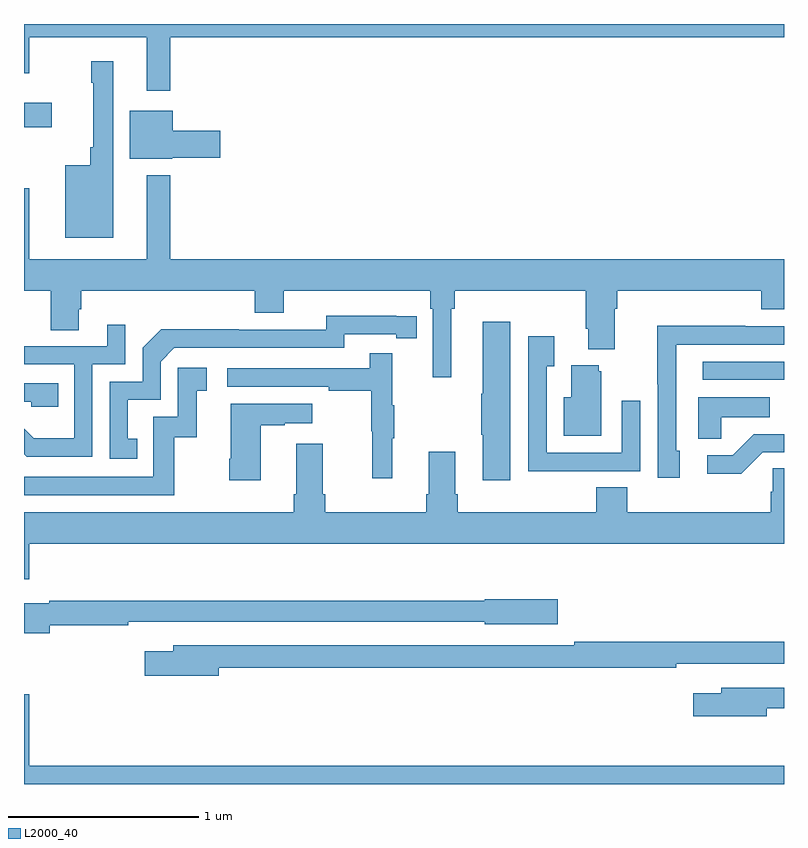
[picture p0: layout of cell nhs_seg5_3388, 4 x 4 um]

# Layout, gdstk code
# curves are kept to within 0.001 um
import gdstk
lib = gdstk.Library(unit=1e-6, precision=1e-09)
def R(c, l, rs):  # rectangles x0, y0, x1, y1
    for r in rs: c.add(gdstk.rectangle(r[:2], r[2:], *l))
def P(c, l, *ps):  # polygons
    for p in ps: c.add(gdstk.Polygon(p, *l))
L2000_40 = (2000, 40)

nhs_seg5_3388 = lib.new_cell('nhs_seg5_3388')
R(nhs_seg5_3388, L2000_40, [(312.573,886.926,313,887.022), (309,888.256,309.145,888.385)])
P(nhs_seg5_3388, L2000_40, [(309.769,888.728),(313,888.728),(313,888.799),(309,888.799),(309,888.54),(309.028,888.54),(309.028,888.728),(309.647,888.728),(309.647,888.447),(309.769,888.447)],
  [(309.469,888.604),(309.355,888.604),(309.355,888.491),(309.365,888.491),(309.365,888.151),(309.348,888.151),(309.348,888.055),(309.218,888.055),(309.218,887.675),(309.469,887.675)],
  [(309.78,888.095),(310.033,888.095),(310.033,888.237),(309.784,888.237),(309.784,888.343),(309.557,888.343),(309.557,888.089),(309.78,888.089)],
  [(311.248,887.3),(311.267,887.3),(311.267,887.396),(311.957,887.396),(311.957,887.194),(311.969,887.194),(311.969,887.087),(312.109,887.087),(312.109,887.3),(312.122,887.3),(312.122,887.396),(312.881,887.396),(312.881,887.297),(313,887.297),(313,887.56),(309.769,887.56),(309.769,888.004),(309.647,888.004),(309.647,887.56),(309.028,887.56),(309.028,887.935),(309,887.935),(309,887.396),(309.142,887.396),(309.142,887.188),(309.289,887.188),(309.289,887.298),(309.302,887.298),(309.302,887.396),(310.214,887.396),(310.214,887.279),(310.366,887.279),(310.366,887.396),(311.138,887.396),(311.138,887.3),(311.151,887.3),(311.151,886.941),(311.248,886.941)],
  [(309.596,886.617),(309.547,886.617),(309.547,886.821),(309.72,886.821),(309.72,887.022),(309.792,887.094),(310.686,887.094),(310.686,887.166),(310.958,887.166),(310.958,887.146),(311.066,887.146),(311.066,887.262),(310.59,887.263),(310.59,887.19),(310.13,887.19),(310.13,887.192),(309.722,887.192),(309.624,887.094),(309.624,886.917),(309.45,886.917),(309.45,886.512),(309.596,886.512)],
  [(311.56,887.233),(311.414,887.233),(311.414,886.853),(311.407,886.853),(311.407,886.636),(311.414,886.636),(311.414,886.398),(311.56,886.398)],
  [(309.36,887.007),(309.534,887.007),(309.534,887.215),(309.437,887.215),(309.437,887.103),(309,887.103),(309,887.007),(309.264,887.007),(309.264,886.618),(309.05,886.618),(309,886.668),(309,886.535),(309.014,886.521),(309.36,886.521)],
  [(312.451,886.554),(312.432,886.554),(312.432,887.112),(313,887.112),(313,887.208),(312.797,887.208),(312.797,887.21),(312.334,887.21),(312.334,886.903),(312.336,886.903),(312.336,886.41),(312.451,886.41)],
  [(311.927,886.446),(312.243,886.446),(312.243,886.816),(312.147,886.816),(312.147,886.542),(311.751,886.542),(311.751,886.999),(311.791,886.999),(311.791,887.155),(311.655,887.155),(311.655,886.445),(311.927,886.445)],
  [(310.937,886.619),(310.948,886.619),(310.948,886.793),(310.937,886.793),(310.937,887.065),(310.819,887.065),(310.819,886.986),(310.071,886.986),(310.071,886.89),(310.603,886.89),(310.603,886.87),(310.827,886.87),(310.827,886.656),(310.834,886.656),(310.834,886.407),(310.937,886.407)],
  [(312.037,886.971),(312.026,886.971),(312.026,887.002),(311.879,887.002),(311.879,886.834),(311.84,886.834),(311.84,886.631),(312.037,886.631)],
  [(309.79,886.623),(309.908,886.623),(309.908,886.869),(309.961,886.869),(309.961,886.99),(309.81,886.99),(309.81,886.731),(309.681,886.731),(309.681,886.416),(309,886.416),(309,886.32),(309.79,886.32)],
  [(309.179,886.908),(309,886.908),(309,886.812),(309.039,886.812),(309.039,886.785),(309.179,886.785)],
  [(312.669,886.73),(312.926,886.73),(312.926,886.834),(312.548,886.834),(312.548,886.615),(312.669,886.615)],
  [(310.246,886.687),(310.373,886.687),(310.373,886.697),(310.516,886.697),(310.516,886.801),(310.088,886.801),(310.088,886.51),(310.081,886.51),(310.081,886.398),(310.246,886.398)],
  [(312.888,886.545),(313,886.545),(313,886.641),(312.842,886.641),(312.731,886.53),(312.597,886.53),(312.597,886.433),(312.775,886.433)],
  [(309.028,886.064),(313,886.064),(313,886.46),(312.942,886.46),(312.942,886.337),(312.929,886.337),(312.929,886.228),(312.176,886.228),(312.176,886.361),(312.011,886.361),(312.011,886.228),(311.282,886.228),(311.282,886.324),(311.269,886.324),(311.269,886.549),(311.129,886.549),(311.129,886.324),(311.117,886.324),(311.117,886.228),(310.586,886.228),(310.586,886.324),(310.573,886.324),(310.573,886.591),(310.433,886.591),(310.433,886.324),(310.421,886.324),(310.421,886.228),(309,886.228),(309,885.876),(309.028,885.876)],
  [(309.136,885.634),(309.548,885.634),(309.548,885.654),(311.424,885.654),(311.424,885.641),(311.809,885.641),(311.809,885.771),(311.424,885.771),(311.424,885.763),(309.132,885.763),(309.132,885.75),(309,885.75),(309,885.592),(309.136,885.592)],
  [(310.024,885.412),(312.434,885.412),(312.434,885.432),(313,885.432),(313,885.548),(311.896,885.548),(311.896,885.528),(309.785,885.528),(309.785,885.499),(309.636,885.499),(309.636,885.37),(310.024,885.37)],
  [(312.91,885.198),(313,885.198),(313,885.306),(312.671,885.306),(312.671,885.277),(312.522,885.277),(312.522,885.155),(312.91,885.155)],
  [(313,884.896),(309.028,884.896),(309.028,885.271),(309,885.271),(309,884.799),(313,884.799)])

lib.write_gds('nhs_seg5_3388.gds')
